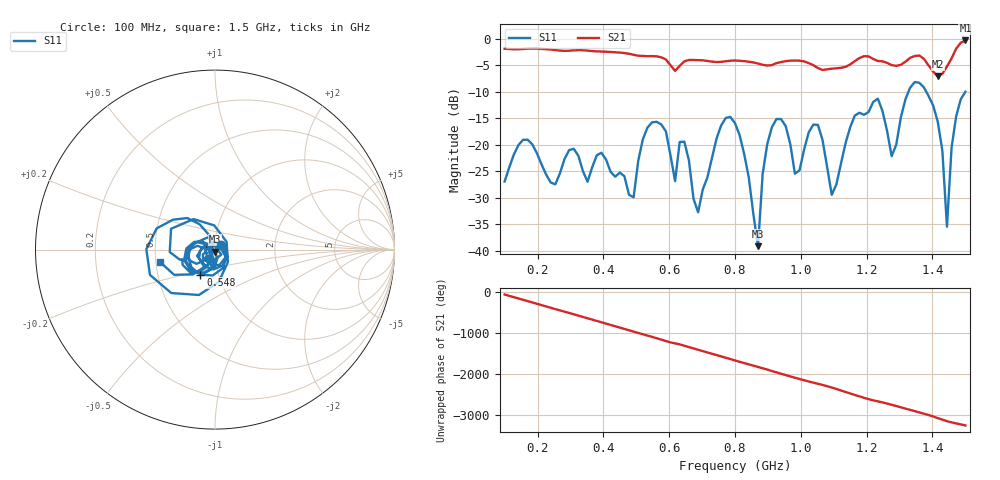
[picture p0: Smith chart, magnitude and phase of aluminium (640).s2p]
! NanoVNA-App
! Date: 2025-09-25 15:00:15
! Start: 100MHz Stop: 1,5GHz Points: 101
! S-Parameter data: F S11 S21 S12 S22
# Hz S RI R 50
!  Frequency  S11_Real  S11_Imag  S21_Real  S21_Imag  S12_Real  S12_Imag  S22_Real  S22_Imag
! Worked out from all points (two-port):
!   101 points, 100 MHz to 1.5 GHz, reference 50 ohm
!   highest |S21| = -0.36 dB at 1.5 GHz (marker M1); lowest = -7.1 dB at 1.416 GHz (marker M2)
!   |S21| within 3 dB of the highest: start of sweep to 562.6 MHz; 1.461 GHz to end of sweep (the widest 2 of 4)
!   lowest |S11| = -39.2 dB at 870 MHz (marker M3), VSWR 1.02, Z = 50.1 - j1.09 ohm
!   |S11| at or under -10 dB: start of sweep to 1.327 GHz; 1.381 GHz to end of sweep
!   S12 and S22 are empty: the file has one direction only
!   S11 on the Smith chart (normalised r, x): 100 MHz: 1.07, +0.06; 548 MHz: 0.82, -0.24; 1.5 GHz: 0.53, -0.08
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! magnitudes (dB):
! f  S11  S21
! 100 MHz  -27.0  -1.9
! 156 MHz  -19.1  -2.0
! 338 MHz  -25.0  -2.2
! 492 MHz  -29.9  -3.1
! 548 MHz  -15.8  -3.3
! 576 MHz  -16.2  -3.5
! 618 MHz  -26.9  -6.1
! 646 MHz  -19.5  -4.3
! 688 MHz  -32.8  -4.1
! 800 MHz  -16.0  -4.1
! 870 MHz  -39.2  -4.7
! 912 MHz  -16.7  -5.0
! 982 MHz  -25.5  -4.2
! 1.038 GHz  -16.2  -5.0
! 1.094 GHz  -29.5  -5.7
! 1.234 GHz  -11.3  -4.2
! 1.276 GHz  -22.2  -5.0
! 1.346 GHz  -8.2  -3.3
! 1.416 GHz  -15.7  -7.1
! 1.444 GHz  -35.5  -5.3
! 1.458 GHz  -20.6  -3.7
! 1.5 GHz  -10.0  -0.4
